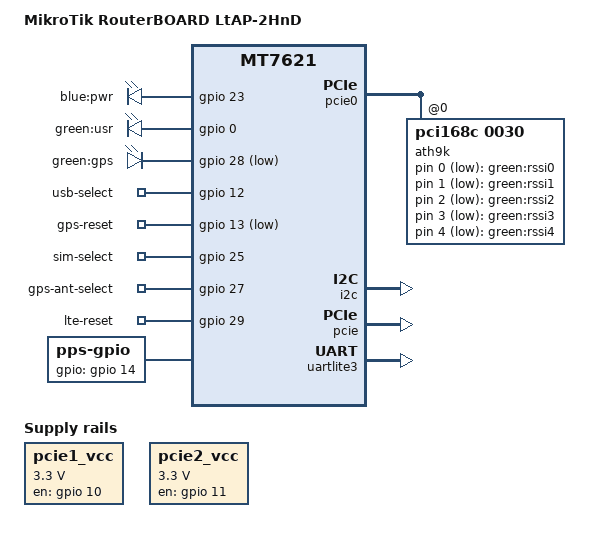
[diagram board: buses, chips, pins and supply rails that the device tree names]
// SPDX-License-Identifier: GPL-2.0-or-later OR MIT

#include "mt7621_mikrotik.dtsi"

/ {
	compatible = "mikrotik,ltap-2hnd", "mediatek,mt7621-soc";
	model = "MikroTik RouterBOARD LtAP-2HnD";

	aliases {
		led-boot = &led_usr;
		led-failsafe = &led_usr;
		led-running = &led_usr;
		led-upgrade = &led_usr;
	};

	ath9k-leds {
		compatible = "gpio-leds";

		rssi0 {
			label = "green:rssi0";
			gpios = <&ath9k 0 GPIO_ACTIVE_LOW>;
		};
		rssi1 {
			label = "green:rssi1";
			gpios = <&ath9k 1 GPIO_ACTIVE_LOW>;
		};
		rssi2 {
			label = "green:rssi2";
			gpios = <&ath9k 2 GPIO_ACTIVE_LOW>;
		};
		rssi3 {
			label = "green:rssi3";
			gpios = <&ath9k 3 GPIO_ACTIVE_LOW>;
		};
		rssi4 {
			label = "green:rssi4";
			gpios = <&ath9k 4 GPIO_ACTIVE_LOW>;
		};
	};

	leds {
		compatible = "gpio-leds";

		pwr {
			label = "blue:pwr";
			gpios = <&gpio 23 GPIO_ACTIVE_HIGH>;
			default-state = "on";
		};

		led_usr: usr {
			label = "green:usr";
			gpios = <&gpio 0 GPIO_ACTIVE_HIGH>;
		};

		gps {
			label = "green:gps";
			gpios = <&gpio 28 GPIO_ACTIVE_LOW>;
		};
	};

	/* TODO: find GPIOs for the WLAN antenna switches */
	gpio-export {
		compatible = "gpio-export";

		usb-select {
			gpio-export,name = "usb-select";
			gpio-export,output = <1>;
			gpios = <&gpio 12 GPIO_ACTIVE_HIGH>;
		};
		gps-reset {
			gpio-export,name = "gps-reset";
			gpio-export,output = <1>;
			gpios = <&gpio 13 GPIO_ACTIVE_LOW>;
		};
		sim-select {
			gpio-export,name = "sim-select";
			gpio-export,output = <1>;
			gpios = <&gpio 25 GPIO_ACTIVE_HIGH>;
		};
		gps-ant-select {
			/* internal antenna = 0 */
			gpio-export,name = "gps-ant-select";
			gpio-export,output = <0>;
			gpios = <&gpio 27 GPIO_ACTIVE_HIGH>;
		};
		lte-reset {
			gpio-export,name = "lte-reset";
			gpio-export,output = <1>;
			gpios = <&gpio 29 GPIO_ACTIVE_HIGH>;
		};
	};

	pps {
		compatible = "pps-gpio";
		gpios = <&gpio 14 GPIO_ACTIVE_HIGH>;
	};

	pcie1_vcc_reg {
		compatible = "regulator-fixed";
		regulator-name = "pcie1_vcc";

		regulator-min-microvolt = <3300000>;
		regulator-max-microvolt = <3300000>;
		gpio = <&gpio 10 GPIO_ACTIVE_HIGH>;
		enable-active-high;
		regulator-boot-on;
	};

	pcie2_vcc_reg {
		compatible = "regulator-fixed";
		regulator-name = "pcie2_vcc";

		regulator-min-microvolt = <3300000>;
		regulator-max-microvolt = <3300000>;
		gpio = <&gpio 11 GPIO_ACTIVE_HIGH>;
		enable-active-high;
		regulator-boot-on;
	};
};

&partitions {
	partition@40000 {
		compatible = "mikrotik,minor";
		label = "firmware";
		reg = <0x040000 0xfc0000>;
	};
};

&ethernet {
	pinctrl-0 = <&mdio_pins>, <&rgmii1_pins>;
};

&switch0 {
	ports {
		port@0 {
			status = "okay";
			label = "lan";
		};
	};
};

&pcie0 {
	status = "okay";

	ath9k: wifi@0,0 {
		compatible = "pci168c,0030";
		reg = <0x0000 0 0 0 0>;
		qca,no-eeprom;
		gpio-controller;
		#gpio-cells = <2>;
	};
};

&state_default {
	gpio {
		groups = "uart2", "wdt", "rgmii2";
		function = "gpio";
	};
};

&i2c {
	status = "okay";
};

&pcie {
	status = "okay";
};

&uartlite3 {
	status = "okay";
};
